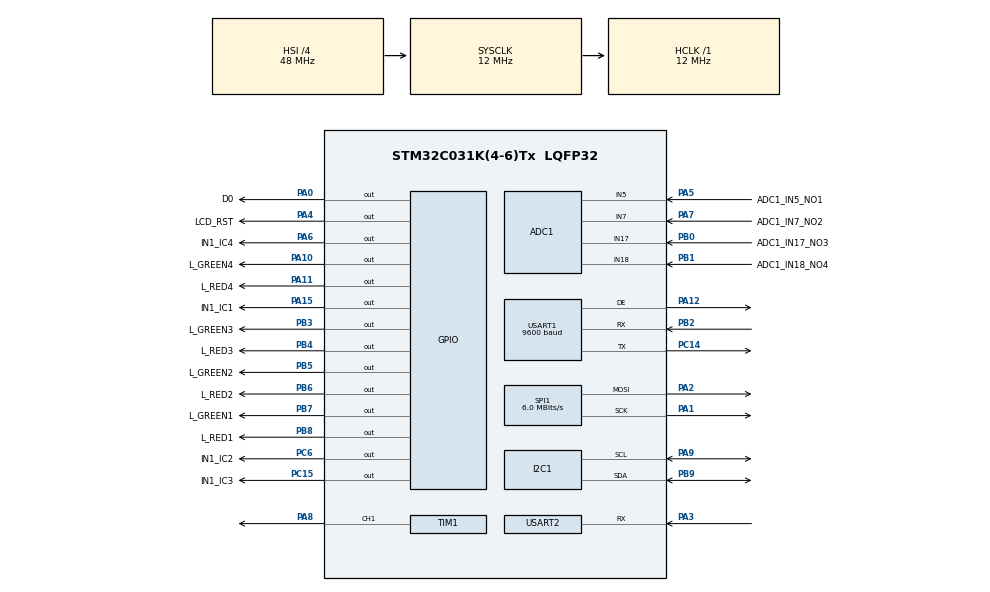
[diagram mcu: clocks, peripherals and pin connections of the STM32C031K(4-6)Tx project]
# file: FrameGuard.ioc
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ADC1.NbrOfConversionFlag=0
ADC1.Overrun=ADC_OVR_DATA_OVERWRITTEN
ADC1.SamplingTimeCommon1=ADC_SAMPLETIME_79CYCLES_5
ADC1.SelectedChannel=ADC_CHANNEL_5|ADC_CHANNEL_7|ADC_CHANNEL_17|ADC_CHANNEL_18
ADC1.Sequencer=NOT_FULLY_CONFIGURABLE
ADC1.master=1
I2C1.Timing=0x00402D41
Mcu.Family=STM32C0
Mcu.Name=STM32C031K(4-6)Tx
Mcu.Package=LQFP32
PA0.GPIO_Label=D0
PA0.Signal=GPIO_Output
PA1.Mode=TX_Only_Simplex_Unidirect_Master
PA1.Signal=SPI1_SCK
PA10.GPIO_Label=L_GREEN4
PA10.Signal=GPIO_Output
PA11\ [PA9].GPIO_Label=L_RED4
PA11\ [PA9].Signal=GPIO_Output
PA12\ [PA10].Mode=Hardware Flow Control (RS485)
PA12\ [PA10].Signal=USART1_DE
PA13.Mode=Serial_Wire
PA13.Signal=DEBUG_SWDIO
PA14-BOOT0.Mode=Serial_Wire
PA14-BOOT0.Signal=DEBUG_SWCLK
PA15.GPIO_Label=IN1_IC1
PA15.Signal=GPIO_Output
PA2.Mode=TX_Only_Simplex_Unidirect_Master
PA2.Signal=SPI1_MOSI
PA3.Mode=Receive_Only
PA3.Signal=USART2_RX
PA4.GPIO_Label=LCD_RST
PA4.Signal=GPIO_Output
PA5.GPIO_Label=ADC1_IN5_NO1
PA5.Mode=IN5
PA5.Signal=ADC1_IN5
PA6.GPIO_Label=IN1_IC4
PA6.Signal=GPIO_Output
PA7.GPIO_Label=ADC1_IN7_NO2
PA7.Mode=IN7
PA7.Signal=ADC1_IN7
PA8.Signal=S_TIM1_CH1
PA9.GPIO_Pu=GPIO_PULLUP
PA9.Mode=I2C
PA9.Signal=I2C1_SCL
PB0.GPIO_Label=ADC1_IN17_NO3
PB0.Mode=IN17
PB0.Signal=ADC1_IN17
PB1.GPIO_Label=ADC1_IN18_NO4
PB1.Mode=IN18
PB1.Signal=ADC1_IN18
PB2.Mode=Asynchronous
PB2.Signal=USART1_RX
PB3.GPIO_Label=L_GREEN3
PB3.Signal=GPIO_Output
PB4.GPIO_Label=L_RED3
PB4.Signal=GPIO_Output
PB5.GPIO_Label=L_GREEN2
PB5.Signal=GPIO_Output
PB6.GPIO_Label=L_RED2
PB6.Signal=GPIO_Output
PB7.GPIO_Label=L_GREEN1
PB7.Signal=GPIO_Output
PB8.GPIO_Label=L_RED1
PB8.Signal=GPIO_Output
PB9.GPIO_Pu=GPIO_PULLUP
PB9.Mode=I2C
PB9.Signal=I2C1_SDA
PC14-OSCX_IN\ (PC14).Mode=Asynchronous
PC14-OSCX_IN\ (PC14).Signal=USART1_TX
PC15-OSCX_OUT\ (PC15).GPIO_Label=IN1_IC3
PC15-OSCX_OUT\ (PC15).Signal=GPIO_Output
PC6.GPIO_Label=IN1_IC2
PC6.Signal=GPIO_Output
ProjectManager.HeapSize=0x200
ProjectManager.StackSize=0x400
ProjectManager.TargetToolchain=Makefile
RCC.ADCFreq_Value=12000000
RCC.AHBFreq_Value=12000000
RCC.CortexFreq_Value=12000000
RCC.EXTERNAL_CLOCK_VALUE=12288000
RCC.HCLKFreq_Value=12000000
RCC.HSE_VALUE=8000000
RCC.HSI_VALUE=48000000
RCC.LSE_VALUE=32768
RCC.SYSCLKFreq_VALUE=12000000
SH.S_TIM1_CH1.0=TIM1_CH1,PWM Generation1 CH1
SPI1.CalculateBaudRate=6.0 MBits/s
SPI1.Direction=SPI_DIRECTION_2LINES
SPI1.Mode=SPI_MODE_MASTER
SPI1.VirtualType=VM_MASTER
TIM1.AutoReloadPreload=TIM_AUTORELOAD_PRELOAD_ENABLE
TIM1.Channel-PWM\ Generation1\ CH1=TIM_CHANNEL_1
TIM1.Period=499
TIM1.Prescaler=11
TIM1.Pulse-PWM\ Generation1\ CH1=250
TIM3.Prescaler=11
USART1.BaudRate=9600
USART1.VirtualMode-Asynchronous=VM_ASYNC
USART1.VirtualMode-Hardware\ Flow\ Control\ (RS485)=VM_ASYNC
USART2.BaudRate=115200
USART2.VirtualMode-Receive_Only=VM_ASYNC
VP_TIM1_VS_ClockSourceINT.Mode=Internal
VP_TIM3_VS_ClockSourceINT.Mode=Internal
VP_WWDG_VS_WWDG.Mode=WWDG_Activate
WWDG.Counter=127
WWDG.Prescaler=WWDG_PRESCALER_8
WWDG.Window=80
board=custom

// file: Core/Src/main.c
/* USER CODE BEGIN Header */
/**
  ******************************************************************************
  * @file           : main.c
  * @brief          : Main program body
  ******************************************************************************
  * @attention
  *
  * Copyright (c) 2026 STMicroelectronics.
  * All rights reserved.
  *
  * This software is licensed under terms that can be found in the LICENSE file
  * in the root directory of this software component.
  * If no LICENSE file comes with this software, it is provided AS-IS.
  *
  ******************************************************************************
  */
/* USER CODE END Header */
#include "main.h"

/* USER CODE BEGIN Includes */
#include <string.h>
#include <stdbool.h>
#include "ads1015.h"
#include "config_store.h"
#include "lcd_st7567.h"
#include "app_debug.h"
#include "wire_probe.h"
#include "modbus_rtu.h"
#include "mb_port_usart1.h"
/* USER CODE END Includes */

/* USER CODE BEGIN PD */
#define VAC_ZERO_V          0.05f     /* V_AC below this is treated as 0 — less decimal noise on the LCD */
#define PROBE_SETTLE_MS     3         /* wait for the switch to return to measure position before reading ADS */
#define LED_ENABLE          1         /* 1 = status LEDs on, 0 = off */
#define PRINT_INTERVAL_MS   1000UL    /* LCD + RTT log update period */
#define RS485_OFFLINE_MS    10000UL
#define CFG_MSG_MS          3000UL    /* how long a config-command result stays on the LCD ID row */
#define MB_REG_COUNT        18        /* map 1-based: addr 1..17, addr 0 reserved — docs/rs485-modbus-protocol.md */
#define LCD_PAGE_INTERVAL   5000UL
/* USER CODE END PD */

ADC_HandleTypeDef hadc1;

I2C_HandleTypeDef hi2c1;

SPI_HandleTypeDef hspi1;

TIM_HandleTypeDef htim1;
TIM_HandleTypeDef htim3;

UART_HandleTypeDef huart1;
UART_HandleTypeDef huart2;

WWDG_HandleTypeDef hwwdg;

/* USER CODE BEGIN PV */
static app_config_t g_cfg = {
  .device_id = 1001, .modbus_addr = 1, .ch_count = ADS_NUM_CHANNELS, .alert_mv = 5000,
  .wire_mvpp = PROBE_OPEN_MVPP_DEFAULT, .k_factor = { 1.0f, 1.0f, 1.0f, 1.0f },
};

/* ACTIVE alarm threshold (mV). Boots from g_cfg.alert_mv; FC06 overrides it
 * at runtime (RAM-only — the persistent value is managed by the master/UART2). Every threshold
 * comparison must go through is_leak() — never compare directly, to avoid mixing V and mV. */
static uint16_t g_alert_mv = 5000;
static uint16_t mb_heartbeat = 0;

static uint32_t last_rs485_poll  = 0;
static bool     lcd_page         = false;
static uint32_t last_page_switch = 0;

static float   vac_ch[ADS_NUM_CHANNELS] = { 0 };
static float   raw_ch[ADS_NUM_CHANNELS] = { 0 };   /* vrms_total — used for table calibration */
static float   vac_uncal[ADS_NUM_CHANNELS] = { 0 }; /* VAC before factor K — source for v=/kN= calibration */

/* Per-channel calibration factor; old configs (previous layout) stored 0 → treated as 1.0 */
static float kf(int i)
{
  float k = g_cfg.k_factor[i];
  return (k > 0.0f) ? k : 1.0f;
}
static probe_state_t wire_ch[ADS_NUM_CHANNELS];     /* confirmed wire-check result */
static uint16_t      wire_mvpp[ADS_NUM_CHANNELS];   /* latest wire-check amplitude, diagnostics */

/* Per-channel verdict for LED/LCD/RS485. Fixed numeric codes, used on the wire. */
typedef enum {
  CH_INIT = 0,   /* wire not yet confirmed after startup */
  CH_OK,         /* wire connected, no leakage */
  CH_LEAK,       /* leakage (LCD "NG") */
  CH_WIRE_NG,    /* sensing wire broken / open */
  CH_ERR,        /* ADS1015 not responding */
  CH_DISABLED,   /* channel beyond the configured count (qty=) — not measured, LED off, LCD blank */
} ch_status_t;

/* A machine group has 1..4 channels (qty= command): only P1..Pn are active */
static bool ch_enabled(int i) { return i < g_cfg.ch_count; }
static bool    wwdg_started = false;

#if LED_ENABLE
static GPIO_TypeDef *const LED_G_PORT[ADS_NUM_CHANNELS] =
  { L_GREEN4_GPIO_Port, L_GREEN3_GPIO_Port, L_GREEN2_GPIO_Port, L_GREEN1_GPIO_Port };
static const uint16_t LED_G_PIN[ADS_NUM_CHANNELS] =
  { L_GREEN4_Pin, L_GREEN3_Pin, L_GREEN2_Pin, L_GREEN1_Pin };
static GPIO_TypeDef *const LED_R_PORT[ADS_NUM_CHANNELS] =
  { L_RED4_GPIO_Port, L_RED3_GPIO_Port, L_RED2_GPIO_Port, L_RED1_GPIO_Port };
static const uint16_t LED_R_PIN[ADS_NUM_CHANNELS] =
  { L_RED4_Pin, L_RED3_Pin, L_RED2_Pin, L_RED1_Pin };
/* Desired LED state — written by the main loop, read by the SysTick ISR to update outputs */
static volatile bool g_green_on[ADS_NUM_CHANNELS] = { 0 };
static volatile bool g_red_on[ADS_NUM_CHANNELS]   = { 0 };
static volatile bool g_red_hb[ADS_NUM_CHANNELS]   = { 0 };   /* red heartbeat blink: wire broken */
#endif
/* USER CODE END PV */

void SystemClock_Config(void);
static void MX_GPIO_Init(void);
static void MX_I2C1_Init(void);
static void MX_SPI1_Init(void);
static void MX_USART1_UART_Init(void);
static void MX_USART2_UART_Init(void);
static void MX_WWDG_Init(void);
static void MX_ADC1_Init(void);
static void MX_TIM1_Init(void);
static void MX_TIM3_Init(void);
/* USER CODE BEGIN PFP */
static void poll_serial(void);
/* USER CODE END PFP */

/* USER CODE BEGIN 0 */
static char     cfg_msg[21];
static uint32_t cfg_msg_until = 0;
#define CFG_PAGE_MS 5000u
static uint32_t cfg_page_until = 0;

static void cfg_show(const char *s)
{
  strncpy(cfg_msg, s, sizeof(cfg_msg) - 1);
  cfg_msg[sizeof(cfg_msg) - 1] = '\0';
  cfg_msg_until = HAL_GetTick() + CFG_MSG_MS;
}

/* Window watchdog: may only be refreshed once the counter has dropped below Window
 * (~131 ms after the previous reload); refreshing earlier also resets the MCU.
 * Call it liberally everywhere — it ignores calls made before the window opens. */
void app_wwdg_kick(void)
{
  if (!wwdg_started) return;
  if ((hwwdg.Instance->CR & WWDG_CR_T) < hwwdg.Init.Window)
    HAL_WWDG_Refresh(&hwwdg);
}

/* The ONLY threshold comparison point — LEDs/LCD/Modbus STATUS all go through here */
static bool is_leak(int i)
{
  return vac_ch[i] >= 0 && vac_ch[i] * 1000.0f > (float)g_alert_mv;
}

/* Leakage ranks above a broken wire: a measured leakage voltage means the wire is connected. */
static ch_status_t ch_status(int i)
{
  if (!ch_enabled(i))                   return CH_DISABLED;
  if (vac_ch[i] < 0)                    return CH_ERR;
  if (is_leak(i))                       return CH_LEAK;
  if (wire_ch[i] == PROBE_OPEN)         return CH_WIRE_NG;
  if (wire_ch[i] == PROBE_UNKNOWN)      return CH_INIT;
  return CH_OK;
}

/* LEDs share a common anode, active LOW: pin RESET (pulled low) = on.
 * OK: green; leakage: red; wire broken: red heartbeat blink; ERR/INIT: both off. */
static void set_machine_led(int i, ch_status_t st)
{
#if LED_ENABLE
  g_green_on[i] = (st == CH_OK);
  g_red_on[i]   = (st == CH_LEAK);
  g_red_hb[i]   = (st == CH_WIRE_NG);
#else
  (void)i; (void)st;
#endif
}

/* Called from SysTick_Handler (1 kHz): updates the status LEDs.
 * Active-low LEDs (common anode, resistor-limited): RESET = on, SET = off.
 * Linux-style heartbeat for the red blink when the wire is broken. */
void app_led_pwm_tick(void)
{
#if LED_ENABLE
  static uint16_t hb = 0;
  if (++hb >= 1000) hb = 0;
  bool hb_on = (hb < 70) || (hb >= 170 && hb < 240);
  for (int i = 0; i < ADS_NUM_CHANNELS; i++) {
    bool red = g_red_on[i] || (g_red_hb[i] && hb_on);
    HAL_GPIO_WritePin(LED_G_PORT[i], LED_G_PIN[i], g_green_on[i] ? GPIO_PIN_RESET : GPIO_PIN_SET);
    HAL_GPIO_WritePin(LED_R_PORT[i], LED_R_PIN[i], red             ? GPIO_PIN_RESET : GPIO_PIN_SET);
  }
#endif
}

void app_rs485_poll_received(void) { last_rs485_poll = HAL_GetTick(); }

static bool    blink_state = false;
static uint32_t last_blink  = 0;

/* Layout (no header): 4 data rows + 1 ID row
 *  y=0  ───── outer border top
 *  y=1..12   M1 row (12px content)
 *  y=13 ───── divider
 *  y=14..25  M2 row
 *  y=26 ───── divider
 *  y=27..38  M3 row
 *  y=39 ───── divider
 *  y=40..51  M4 row
 *  y=52 ───── divider (above ID)
 *  y=53..62  ID row (10px, same as spec v2)
 *  y=63 ───── outer border bottom
 */
/* Append "<label><number>" to b at position n, return the new position */
static int fmt_label_u(char *b, int n, const char *label, uint32_t v)
{
  while (*label) b[n++] = *label++;
  char t[6];
  int  c = 0;
  do { t[c++] = (char)('0' + v % 10); v /= 10; } while (v);
  while (c) b[n++] = t[--c];
  b[n] = '\0';
  return n;
}

/* Settings page ("config" command): only the configured values, 5 rows */
static void lcd_show_settings(void)
{
  char b[17];
  int  n;
  lcd_draw_rect(0, 0, 128, 64, 1);

  n = fmt_label_u(b, 0, "ID:", g_cfg.device_id);
  n = fmt_label_u(b, n, " RS:", g_cfg.modbus_addr);
  lcd_draw_string(4, 3, b);

  n = fmt_label_u(b, 0, "THR:", g_cfg.alert_mv);
  n = fmt_label_u(b, n, " Qty:", g_cfg.ch_count);
  lcd_draw_string(4, 15, b);

  fmt_label_u(b, 0, "WIRE:", g_cfg.wire_mvpp);
  lcd_draw_string(4, 27, b);

  /* K×1000 — "K1:1000 K2:1000" matches how the kN= command displays it */
  n = fmt_label_u(b, 0, "K1:", (uint32_t)(kf(0) * 1000.0f + 0.5f));
  n = fmt_label_u(b, n, " K2:", (uint32_t)(kf(1) * 1000.0f + 0.5f));
  lcd_draw_string(4, 39, b);

  n = fmt_label_u(b, 0, "K3:", (uint32_t)(kf(2) * 1000.0f + 0.5f));
  n = fmt_label_u(b, n, " K4:", (uint32_t)(kf(3) * 1000.0f + 0.5f));
  lcd_draw_string(4, 51, b);
}

static void lcd_show_channels(bool any_alert)
{
  char buf[16];
  int i;
  lcd_clear();

  uint32_t now = HAL_GetTick();
  if (now - last_blink >= 500) {
    last_blink = now;
    blink_state = !blink_state;
  }

  if ((int32_t)(cfg_page_until - now) > 0) {
    lcd_show_settings();
    lcd_update();
    return;
  }

  lcd_draw_rect(0, 0, 128, 64, 1);

  lcd_draw_hline(0, 13, 128, 1);
  lcd_draw_hline(0, 26, 128, 1);
  lcd_draw_hline(0, 39, 128, 1);
  lcd_draw_hline(0, 52, 128, 1);

  lcd_draw_vline(28, 0, 53, 1);
  lcd_draw_vline(88, 0, 53, 1);

  static const int row_y[]  = {1, 14, 27, 40};
  static const int row_ye[] = {12, 25, 38, 51};

  for (i = 0; i < ADS_NUM_CHANNELS; i++) {
    int cy = row_y[i];
    int ty = cy + 2;

    if (!ch_enabled(i)) continue;        /* disabled channel: leave the row blank */

    lcd_draw_char(7, ty, 'P');
    lcd_draw_char(15, ty, (char)('1' + i));

    ch_status_t st = ch_status(i);
    if (vac_ch[i] < 0) {
      lcd_draw_string(32, ty, "----");
      lcd_draw_string(98, ty, "ERR");
    } else if (st == CH_WIRE_NG) {
      /* Wire broken: do not print 0.00V (easily mistaken for "no leakage"); both cells show
       * evenly spaced blinking 2x2 dots: voltage cell 29..87 5 dots every 12 px, status cell 89..126 4 dots every 9 px */
      if (blink_state) {
        for (int dx = 34; dx <= 82; dx += 12) lcd_fill_rect(dx, cy + 5, 2, 2, 1);
        for (int dx = 94; dx <= 121; dx += 9) lcd_fill_rect(dx, cy + 5, 2, 2, 1);
      }
    } else {
      int32_t s = (int32_t)(vac_ch[i] * 100.0f + 0.5f);
      if (s > 9999) s = 9999;
      int32_t ip = s / 100, fp = s % 100;
      int n = 0;
      if (ip >= 10) buf[n++] = (char)('0' + ip / 10);
      buf[n++] = (char)('0' + ip % 10);
      buf[n++] = '.';
      buf[n++] = (char)('0' + fp / 10);
      buf[n++] = (char)('0' + fp % 10);
      buf[n] = '\0';
      lcd_draw_string(32, ty, buf);
      lcd_draw_char(32 + n * 8, ty, 'V');

      const char *txt = st == CH_LEAK ? "NG" : st == CH_INIT ? "..." : "OK";
      if (st == CH_LEAK && blink_state) {
        lcd_fill_rect(89, cy, 38, row_ye[i] - cy + 1, 1);
        lcd_draw_string_inv(98, ty, txt);
      } else {
        lcd_draw_string(98, ty, txt);
      }
    }
  }

  /* ID row — 2-page alternating display */
  {
    if (now - last_page_switch >= LCD_PAGE_INTERVAL) {
      lcd_page = !lcd_page;
      last_page_switch = now;
    }

    if ((int32_t)(cfg_msg_until - now) > 0) {
      /* Config-command feedback, inverted to stand out, centred */
      int n = (int)strlen(cfg_msg);
      lcd_fill_rect(1, 53, 126, 10, 1);
      if (n <= 16) {
        lcd_draw_string_inv(64 - n * 4, 55, cfg_msg);
      } else {
        /* Long strings (5-command usage = 20 chars): 5 px glyphs drawn at 6 px pitch → 120 px */
        int x = 64 - n * 3;
        for (int k = 0; k < n; k++, x += 6) lcd_draw_char_inv(x, 55, cfg_msg[k]);
      }
    } else
    if (!lcd_page) {
      /* Page 1: ID:1001-RS:001 (14 chars, 112px, x=8) */
      uint16_t id = g_cfg.device_id;
      buf[0]  = 'I'; buf[1] = 'D';
      buf[2]  = blink_state ? ':' : ' ';
      buf[3]  = (char)('0' + (id / 1000) % 10);
      buf[4]  = (char)('0' + (id / 100) % 10);
      buf[5]  = (char)('0' + (id / 10) % 10);
      buf[6]  = (char)('0' + id % 10);
      buf[7]  = '-';
      buf[8]  = 'R'; buf[9] = 'S'; buf[10] = ':';
      buf[11] = (char)('0' + (g_cfg.modbus_addr / 100) % 10);
      buf[12] = (char)('0' + (g_cfg.modbus_addr / 10) % 10);
      buf[13] = (char)('0' + g_cfg.modbus_addr % 10);
      buf[14] = '\0';
      lcd_draw_string(8, 55, buf);
    } else {
      /* Page 2: LINK OK or OFFLINE M:SS */
      uint32_t elapsed = now - last_rs485_poll;
      bool offline = (elapsed > RS485_OFFLINE_MS);

      if (offline) {
        uint32_t secs = elapsed / 1000;
        uint32_t mm = secs / 60; if (mm > 9) mm = 9;
        uint32_t ss = secs % 60;
        buf[0] = 'O'; buf[1] = 'F'; buf[2] = 'F';
        buf[3] = 'L'; buf[4] = 'I'; buf[5] = 'N'; buf[6] = 'E'; buf[7] = ' ';
        buf[8] = (char)('0' + mm);
        buf[9] = ':';
        buf[10] = (char)('0' + ss / 10);
        buf[11] = (char)('0' + ss % 10);
        buf[12] = '\0';
        /* 12 chars = 96px → x=16 */
        lcd_fill_rect(1, 53, 126, 10, 1);
        lcd_draw_string_inv(16, 55, buf);
      } else {
        /* 7 chars = 56px → x=36 */
        lcd_draw_string(36, 55, "LINK OK");
      }
    }
  }

  (void)any_alert;
  lcd_update();
}

/* ---- Modbus RTU slave: 1-based register map, addr = channel number for clarity
 * (docs/rs485-modbus-protocol.md). Each channel's state is read from CH_STATUS —
 * there is no combined bitmap (it duplicated CH_STATUS). ----
 *  0    reserved (reads 0)
 *  1–4  V_AC channels P1–P4 (unit 0.01 V — matches LCD X.XX; I2C error → 0xFFFF, valid values clamp at 0xFFFE)
 *  5    DEVICE_ID                    6  ALERT_THRESHOLD mV (FC06 ghi, RAM-only)
 *  7    FW_HEARTBEAT                 8–11  CH_STATUS channels P1–P4 (ch_status_t)
 *  12–15 WIRE_MVPP channels P1–P4 (wire-check amplitude)
 *  16   WIRE_THRESHOLD (wire-break threshold shared by 4 channels, read-only)
 *  17   CH_COUNT 1..4 (channels in the group, writable via FC06 — like qty=, saved to flash;
 *       disabled channel: VAC=0, CH_STATUS=5, WIRE_MVPP=0) */
static uint16_t mb_app_reg_read(uint16_t addr)
{
  switch (addr) {
  case 1: case 2: case 3: case 4: {
    int i = addr - 1;
    if (!ch_enabled(i)) return 0;                  /* disabled channel (qty=) — CH_STATUS = 5 */
    if (vac_ch[i] < 0) return 0xFFFF;              /* I2C error — before any conversion */
    uint32_t cv = (uint32_t)(vac_ch[i] * 100.0f + 0.5f);   /* 0.01 V/LSB */
    return (cv > 0xFFFE) ? 0xFFFE : (uint16_t)cv;
  }
  case 5: return g_cfg.device_id;
  case 6: return g_alert_mv;
  case 7: return mb_heartbeat;
  case 8: case 9: case 10: case 11:
    return (uint16_t)ch_status(addr - 8);
  case 12: case 13: case 14: case 15:
    return wire_mvpp[addr - 12];
  case 16: return g_cfg.wire_mvpp;                 /* wire-break threshold (read-only; set with wire=) */
  case 17: return g_cfg.ch_count;                  /* channels in the group (qty= command) */
  default: return 0;                               /* addr 0 reserved; the core rejects addr ≥ MB_REG_COUNT */
  }
}

static void cfg_save_show(const char *label, uint32_t v)
{
  app_wwdg_kick();
  bool saved = config_save(&g_cfg);
  app_wwdg_kick();
  char m[20];
  int  n = 0;
  while (label[n]) { m[n] = label[n]; n++; }
  char tmp[6];
  int  t = 0;
  do { tmp[t++] = (char)('0' + v % 10); v /= 10; } while (v);
  while (t) m[n++] = tmp[--t];
  m[n] = '\0';
  strcat(m, saved ? " SAVED" : " FLASH!");
  cfg_show(m);
}

/* FC06 can write 2 registers:
 *  - 6  ALERT_THRESHOLD: RAM-only — the persistent value lives in flash (thr= command);
 *       a master that wants its own threshold re-writes it on every poll
 *  - 17 CH_COUNT: like the qty= UART2 command — saved to flash, applied on the next scan */
static mb_wr_result_t mb_app_reg_write(uint16_t addr, uint16_t val)
{
  switch (addr) {
  case 6:
    if (val < 100 || val > 60000) return MB_WR_BAD_VALUE;
    g_alert_mv = val;
    return MB_WR_OK;
  case 17:
    if (val < 1 || val > ADS_NUM_CHANNELS) return MB_WR_BAD_VALUE;
    g_cfg.ch_count = (uint8_t)val;       /* next scan: channels > val are skipped, data cleared */
    cfg_save_show("QTY:", val);          /* write flash + LCD feedback, same path as qty= */
    return MB_WR_OK;
  default:
    return MB_WR_BAD_ADDR;
  }
}

static const mb_port_t MB_PORT = {
  .get_tick_ms = HAL_GetTick,
  .tx_start    = mb_port_usart1_tx_start,
  .tx_busy     = mb_port_usart1_tx_busy,
  .reg_read    = mb_app_reg_read,
  .reg_write   = mb_app_reg_write,
  .on_reply_ok = app_rs485_poll_received,
};

void app_comm_poll(void) {
  mb_poll();
}

/* ---- Config commands over USART2 RX (no TX — result shown on the LCD for 3 s):
 * id=<1..9999> | addr=<1..247> | thr=<100..60000> (mV) | wire=<100..3000> (mVpp)
 * | qty=<1..4> (channel count) | v=<500..24000> (reference mV being applied → calibrate K on all 4 channels)
 * | k1=..k4=<500..24000> (calibrate K on one channel). Saved to flash immediately.
 * | config (no argument): show the settings page for 5 s. ---- */

/* Case-insensitive prefix match; returns a pointer past the prefix or NULL */
static const char *cmd_prefix(const char *p, const char *kw)
{
  while (*kw) {
    char c = *p, k = *kw;
    if (c >= 'A' && c <= 'Z') c = (char)(c - 'A' + 'a');
    if (c != k) return NULL;
    p++; kw++;
  }
  return p;
}

/* Parse a decimal number; -1 if empty or containing invalid characters */
static int32_t cmd_num(const char *d)
{
  if (*d < '0' || *d > '9') return -1;
  int32_t v = 0;
  for (; *d >= '0' && *d <= '9'; d++) {
    v = v * 10 + (*d - '0');
    if (v > 100000) return -1;
  }
  return (*d == '\0') ? v : -1;
}

/* Compute K for channel i from the reference voltage being applied (V). Rejects disabled channels,
 * readings that are too small (noise divided by ~0), or K outside 0.5..2.0 (wrong reference applied). */
static bool cal_apply(int i, float target_v)
{
  if (!ch_enabled(i) || vac_uncal[i] < 0.2f) return false;
  float k = target_v / vac_uncal[i];
  if (k < 0.5f || k > 2.0f) return false;
  g_cfg.k_factor[i] = k;
  return true;
}

static void handle_command(char *p)
{
  while (*p == ' ' || *p == '\t') p++;
  const char *d;

  if ((d = cmd_prefix(p, "id=")) != NULL) {
    int32_t v = cmd_num(d);
    if (v >= 1 && v <= 9999) {
      g_cfg.device_id = (uint16_t)v;
      cfg_save_show("ID:", (uint32_t)v);
    } else {
      cfg_show("ID 1..9999");
    }
    return;
  }

  if ((d = cmd_prefix(p, "addr=")) != NULL) {
    int32_t v = cmd_num(d);
    if (v >= 1 && v <= 247) {
      g_cfg.modbus_addr = (uint8_t)v;
      mb_set_addr((uint8_t)v);
      cfg_save_show("ADDR:", (uint32_t)v);
    } else {
      cfg_show("ADDR 1..247");
    }
    return;
  }

  if ((d = cmd_prefix(p, "thr=")) != NULL) {
    int32_t v = cmd_num(d);
    if (v >= 100 && v <= 60000) {
      g_cfg.alert_mv = (uint16_t)v;
      g_alert_mv     = (uint16_t)v;    /* RAM + flash together — thr= is the persistent value */
      cfg_save_show("THR:", (uint32_t)v);
    } else {
      cfg_show("THR 100..60000");
    }
    return;
  }

  if ((d = cmd_prefix(p, "wire=")) != NULL) {
    int32_t v = cmd_num(d);
    if (v >= 100 && v <= 3000) {
      g_cfg.wire_mvpp = (uint16_t)v;
      probe_set_open_mvpp((uint16_t)v);  /* effective from the next wire-check window */
      cfg_save_show("WIRE:", (uint32_t)v);
    } else {
      cfg_show("WIRE 100..3000");
    }
    return;
  }

  if ((d = cmd_prefix(p, "qty=")) != NULL) {
    int32_t v = cmd_num(d);
    if (v >= 1 && v <= ADS_NUM_CHANNELS) {
      g_cfg.ch_count = (uint8_t)v;       /* next scan: channels > v are skipped, data cleared */
      cfg_save_show("QTY:", (uint32_t)v);
    } else {
      cfg_show("QTY 1..4");
    }
    return;
  }

  if ((d = cmd_prefix(p, "v=")) != NULL) {
    int32_t v = cmd_num(d);
    if (v >= 500 && v <= 24000) {
      int n = 0;
      for (int i = 0; i < ADS_NUM_CHANNELS; i++)
        if (cal_apply(i, (float)v / 1000.0f)) n++;
      if (n) cfg_save_show("CAL:", (uint32_t)n);   /* "CAL:4 SAVED" = number of channels calibrated */
      else   cfg_show("CAL FAIL");
    } else {
      cfg_show("V 500..24000");
    }
    return;
  }

  if ((p[0] == 'k' || p[0] == 'K') && p[1] >= '1' && p[1] <= '4' && p[2] == '=') {
    int32_t v = cmd_num(p + 3);
    int ch = p[1] - '1';
    if (v >= 500 && v <= 24000) {
      if (cal_apply(ch, (float)v / 1000.0f)) {
        char lbl[4] = { 'K', p[1], ':', '\0' };
        /* show K×1000: "K1:1023 SAVED" reads as 1.023 */
        cfg_save_show(lbl, (uint32_t)(g_cfg.k_factor[ch] * 1000.0f + 0.5f));
      } else {
        char msg[12] = "CAL P1 FAIL";
        msg[5] = p[1];
        cfg_show(msg);
      }
    } else {
      cfg_show("K 500..24000");
    }
    return;
  }

  if ((d = cmd_prefix(p, "config")) != NULL && *d == '\0') {
    cfg_page_until = HAL_GetTick() + CFG_PAGE_MS;
    return;
  }

  cfg_show("id addr qty v kN");
}

/* USART2 has no FIFO (1-byte RDR) and the measurement loop has stretches that do not poll
 * for tens of ms → a command line sent in one burst (paste/script, 9 bytes ≈ 0.8 ms) would overrun.
 * Receive via RXNE interrupt into a small ring; poll_serial() only drains the ring and parses. */
#define U2_RING_SIZE 32u                     /* power of 2 */
static volatile uint8_t u2_ring[U2_RING_SIZE];
static volatile uint8_t u2_head, u2_tail;    /* head: written by ISR; tail: read by poll_serial */

void app_usart2_isr(void)
{
  uint32_t isr = USART2->ISR;
  USART2->ICR = isr & (USART_ICR_PECF | USART_ICR_FECF | USART_ICR_NECF | USART_ICR_ORECF);
  if (isr & USART_ISR_RXNE_RXFNE) {
    uint8_t c = (uint8_t)USART2->RDR;
    uint8_t next = (uint8_t)((u2_head + 1u) & (U2_RING_SIZE - 1u));
    if (next != u2_tail && !(isr & (USART_ISR_PE | USART_ISR_FE | USART_ISR_NE))) {
      u2_ring[u2_head] = c;
      u2_head = next;
    }
  }
}

static void poll_serial(void)
{
  static char    sbuf[24];
  static uint8_t len = 0;

  while (u2_tail != u2_head) {
    char c = (char)u2_ring[u2_tail];
    u2_tail = (uint8_t)((u2_tail + 1u) & (U2_RING_SIZE - 1u));
    if (c == '\n' || c == '\r') {
      if (len == 0) continue;
      sbuf[len] = '\0';
      handle_command(sbuf);
      len = 0;
    } else if (len < sizeof(sbuf) - 1) {
      sbuf[len++] = c;
    } else {
      len = 0;
    }
  }
}

/* USER CODE END 0 */

int main(void)
{

  /* MCU Configuration--------------------------------------------------------*/

  /* Reset of all peripherals, Initializes the Flash interface and the Systick. */
  HAL_Init();

  /* Configure the system clock */
  SystemClock_Config();

  /* Initialize all configured peripherals */
  MX_GPIO_Init();
  MX_I2C1_Init();
  MX_SPI1_Init();
  MX_USART1_UART_Init();
  MX_USART2_UART_Init();
  MX_WWDG_Init();
  MX_ADC1_Init();
  MX_TIM1_Init();
  MX_TIM3_Init();
  /* USER CODE BEGIN 2 */
  APP_LOG_INIT();
#if APP_DEBUG
  /* J-Link halts the core (flashing, RTT attach) but the WWDG keeps counting → spurious WWDG reset.
   * Freeze the WWDG while the core is halted; not needed in production. */
  __HAL_RCC_DBGMCU_CLK_ENABLE();
  __HAL_DBGMCU_FREEZE_WWDG();
#endif
  wwdg_started = true;

  /* Load config from flash (if present); V conversion uses the static calibration table in ads1015.c */
  bool cfg_loaded = config_load(&g_cfg);
  g_alert_mv = g_cfg.alert_mv;
  probe_set_open_mvpp(g_cfg.wire_mvpp);

  /* Modbus RTU slave on USART1: core + bare-register port.
   * From here on, no HAL UART TX API may be used on huart1 (one UART, one owner). */
  mb_init(&MB_PORT, g_cfg.modbus_addr, MB_REG_COUNT);
  mb_port_usart1_init();

  APP_LOG("[boot] id=%u addr=%u thr=%umV cfg=%s rst=%s%s%s%s\r\n",
          g_cfg.device_id, g_cfg.modbus_addr, g_alert_mv, cfg_loaded ? "flash" : "defaults",
          __HAL_RCC_GET_FLAG(RCC_FLAG_PWRRST)  ? "POR "  : "",
          __HAL_RCC_GET_FLAG(RCC_FLAG_PINRST)  ? "PIN "  : "",
          __HAL_RCC_GET_FLAG(RCC_FLAG_SFTRST)  ? "SFT "  : "",
          __HAL_RCC_GET_FLAG(RCC_FLAG_WWDGRST) ? "WWDG " : "");
  __HAL_RCC_CLEAR_RESET_FLAGS();

  lcd_init();
  app_wwdg_kick();
  APP_LOG("[boot] lcd_init ok\r\n");
  probe_init();
  app_wwdg_kick();
  /* USER CODE END 2 */

  /* Infinite loop */
  while (1)
  {

    /* USER CODE BEGIN 3 */
    mb_poll();
    static uint32_t last_print = 0;
    bool any_alert = false;
    ads_meas_t m;

    for (int i = 0; i < ADS_NUM_CHANNELS; i++) {
      poll_serial();
      mb_poll();
      app_wwdg_kick();

      if (!ch_enabled(i)) {
        /* Disabled channel: clear old data (qty= changed at runtime), LED off, no measurement */
        vac_ch[i] = 0.0f; raw_ch[i] = 0.0f; vac_uncal[i] = 0.0f;
        wire_ch[i] = PROBE_UNKNOWN; wire_mvpp[i] = 0;
        set_machine_led(i, CH_DISABLED);
        continue;
      }

      /* Check the wire before every measurement, regardless of the previous result. */
      probe_result_t pr;
      if (probe_measure(i, &pr)) {
        wire_ch[i]   = probe_update(i, &pr);
        wire_mvpp[i] = pr.mvpp;
      } else {
        APP_LOG("[probe] P%d ADC error\r\n", i + 1);
      }
      HAL_Delay(PROBE_SETTLE_MS);
      app_wwdg_kick();

      bool ok = ads_measure_channel(&hi2c1, i, &m);
      vac_uncal[i] = ok ? m.vac : 0.0f;
      vac_ch[i] = ok ? m.vac * kf(i) : -1.0f;   /* -1 = IC not responding */
      raw_ch[i] = ok ? m.vrms_total : 0.0f;
      if (ok && vac_ch[i] < VAC_ZERO_V) vac_ch[i] = 0.0f;
      if (!ok) APP_LOG("[i2c] P%d not responding\r\n", i + 1);

      ch_status_t st = ch_status(i);
      if (st == CH_LEAK || st == CH_WIRE_NG) any_alert = true;
      set_machine_led(i, st);
      app_wwdg_kick();
    }
    mb_heartbeat++;

    /* PA0 (label D0) is the LCD A0 pin — no longer used as a global alert output */

    /* Print results + update the LCD every 1 s (a 4-channel scan takes ~820 ms) */
    uint32_t now = HAL_GetTick();
    if (now - last_print >= PRINT_INTERVAL_MS) {
      last_print = now;
      lcd_show_channels(any_alert);
      app_wwdg_kick();
      mb_poll();
      /* RTT has no %f: print mV (vac*1000), -1 = channel error */
      APP_LOG("[meas] P1=%d P2=%d P3=%d P4=%d mV | %s, %s, %s, %s (%u %u %u %u mVpp)%s\r\n",
          (int)(vac_ch[0] * 1000.0f), (int)(vac_ch[1] * 1000.0f),
          (int)(vac_ch[2] * 1000.0f), (int)(vac_ch[3] * 1000.0f),
          probe_state_str(wire_ch[0]), probe_state_str(wire_ch[1]),
          probe_state_str(wire_ch[2]), probe_state_str(wire_ch[3]),
          (unsigned)wire_mvpp[0], (unsigned)wire_mvpp[1],
          (unsigned)wire_mvpp[2], (unsigned)wire_mvpp[3],
          any_alert ? " ALERT" : "");
    }
    app_wwdg_kick();
  }
  /* USER CODE END 3 */
}

void SystemClock_Config(void)
{
  RCC_OscInitTypeDef RCC_OscInitStruct = {0};
  RCC_ClkInitTypeDef RCC_ClkInitStruct = {0};

  __HAL_FLASH_SET_LATENCY(FLASH_LATENCY_0);

  /** Initializes the RCC Oscillators according to the specified parameters
  * in the RCC_OscInitTypeDef structure.
  */
  RCC_OscInitStruct.OscillatorType = RCC_OSCILLATORTYPE_HSI;
  RCC_OscInitStruct.HSIState = RCC_HSI_ON;
  RCC_OscInitStruct.HSIDiv = RCC_HSI_DIV4;
  RCC_OscInitStruct.HSICalibrationValue = RCC_HSICALIBRATION_DEFAULT;
  if (HAL_RCC_OscConfig(&RCC_OscInitStruct) != HAL_OK)
  {
    Error_Handler();
  }

  /** Initializes the CPU, AHB and APB buses clocks
  */
  RCC_ClkInitStruct.ClockType = RCC_CLOCKTYPE_HCLK|RCC_CLOCKTYPE_SYSCLK
                              |RCC_CLOCKTYPE_PCLK1;
  RCC_ClkInitStruct.SYSCLKSource = RCC_SYSCLKSOURCE_HSI;
  RCC_ClkInitStruct.SYSCLKDivider = RCC_SYSCLK_DIV1;
  RCC_ClkInitStruct.AHBCLKDivider = RCC_HCLK_DIV1;
  RCC_ClkInitStruct.APB1CLKDivider = RCC_APB1_DIV1;

  if (HAL_RCC_ClockConfig(&RCC_ClkInitStruct, FLASH_LATENCY_0) != HAL_OK)
  {
    Error_Handler();
  }
}

static void MX_ADC1_Init(void)
{

  ADC_ChannelConfTypeDef sConfig = {0};

  /** Configure the global features of the ADC (Clock, Resolution, Data Alignment and number of conversion)
  */
  hadc1.Instance = ADC1;
  hadc1.Init.ClockPrescaler = ADC_CLOCK_SYNC_PCLK_DIV1;
  hadc1.Init.Resolution = ADC_RESOLUTION_12B;
  hadc1.Init.DataAlign = ADC_DATAALIGN_RIGHT;
  hadc1.Init.ScanConvMode = ADC_SCAN_SEQ_FIXED;
  hadc1.Init.EOCSelection = ADC_EOC_SINGLE_CONV;
  hadc1.Init.LowPowerAutoWait = DISABLE;
  hadc1.Init.LowPowerAutoPowerOff = DISABLE;
  hadc1.Init.ContinuousConvMode = DISABLE;
  hadc1.Init.NbrOfConversion = 1;
  hadc1.Init.DiscontinuousConvMode = DISABLE;
  hadc1.Init.ExternalTrigConv = ADC_SOFTWARE_START;
  hadc1.Init.ExternalTrigConvEdge = ADC_EXTERNALTRIGCONVEDGE_NONE;
  hadc1.Init.DMAContinuousRequests = DISABLE;
  hadc1.Init.Overrun = ADC_OVR_DATA_OVERWRITTEN;
  hadc1.Init.SamplingTimeCommon1 = ADC_SAMPLETIME_79CYCLES_5;
  hadc1.Init.OversamplingMode = DISABLE;
  hadc1.Init.TriggerFrequencyMode = ADC_TRIGGER_FREQ_HIGH;
  if (HAL_ADC_Init(&hadc1) != HAL_OK)
  {
    Error_Handler();
  }

  /** Configure Regular Channel
  */
  sConfig.Channel = ADC_CHANNEL_5;
  sConfig.Rank = ADC_RANK_CHANNEL_NUMBER;
  if (HAL_ADC_ConfigChannel(&hadc1, &sConfig) != HAL_OK)
  {
    Error_Handler();
  }

  /** Configure Regular Channel
  */
  sConfig.Channel = ADC_CHANNEL_7;
  if (HAL_ADC_ConfigChannel(&hadc1, &sConfig) != HAL_OK)
  {
    Error_Handler();
  }

  /** Configure Regular Channel
  */
  sConfig.Channel = ADC_CHANNEL_17;
  if (HAL_ADC_ConfigChannel(&hadc1, &sConfig) != HAL_OK)
  {
    Error_Handler();
  }

  /** Configure Regular Channel
  */
  sConfig.Channel = ADC_CHANNEL_18;
  if (HAL_ADC_ConfigChannel(&hadc1, &sConfig) != HAL_OK)
  {
    Error_Handler();
  }

}

static void MX_I2C1_Init(void)
{

  hi2c1.Instance = I2C1;
  hi2c1.Init.Timing = 0x00402D41;
  hi2c1.Init.OwnAddress1 = 0;
  hi2c1.Init.AddressingMode = I2C_ADDRESSINGMODE_7BIT;
  hi2c1.Init.DualAddressMode = I2C_DUALADDRESS_DISABLE;
  hi2c1.Init.OwnAddress2 = 0;
  hi2c1.Init.OwnAddress2Masks = I2C_OA2_NOMASK;
  hi2c1.Init.GeneralCallMode = I2C_GENERALCALL_DISABLE;
  hi2c1.Init.NoStretchMode = I2C_NOSTRETCH_DISABLE;
  if (HAL_I2C_Init(&hi2c1) != HAL_OK)
  {
    Error_Handler();
  }

  /** Configure Analogue filter
  */
  if (HAL_I2CEx_ConfigAnalogFilter(&hi2c1, I2C_ANALOGFILTER_ENABLE) != HAL_OK)
  {
    Error_Handler();
  }

  /** Configure Digital filter
  */
  if (HAL_I2CEx_ConfigDigitalFilter(&hi2c1, 0) != HAL_OK)
  {
    Error_Handler();
  }

}

static void MX_SPI1_Init(void)
{

  /* SPI1 parameter configuration*/
  hspi1.Instance = SPI1;
  hspi1.Init.Mode = SPI_MODE_MASTER;
  hspi1.Init.Direction = SPI_DIRECTION_2LINES;
  hspi1.Init.DataSize = SPI_DATASIZE_8BIT;
  hspi1.Init.CLKPolarity = SPI_POLARITY_LOW;
  hspi1.Init.CLKPhase = SPI_PHASE_1EDGE;
  hspi1.Init.NSS = SPI_NSS_SOFT;
  hspi1.Init.BaudRatePrescaler = SPI_BAUDRATEPRESCALER_2;
  hspi1.Init.FirstBit = SPI_FIRSTBIT_MSB;
  hspi1.Init.TIMode = SPI_TIMODE_DISABLE;
  hspi1.Init.CRCCalculation = SPI_CRCCALCULATION_DISABLE;
  hspi1.Init.CRCPolynomial = 7;
  hspi1.Init.CRCLength = SPI_CRC_LENGTH_DATASIZE;
  hspi1.Init.NSSPMode = SPI_NSS_PULSE_ENABLE;
  if (HAL_SPI_Init(&hspi1) != HAL_OK)
  {
    Error_Handler();
  }

}

static void MX_TIM1_Init(void)
{

  TIM_ClockConfigTypeDef sClockSourceConfig = {0};
  TIM_MasterConfigTypeDef sMasterConfig = {0};
  TIM_OC_InitTypeDef sConfigOC = {0};
  TIM_BreakDeadTimeConfigTypeDef sBreakDeadTimeConfig = {0};

  htim1.Instance = TIM1;
  htim1.Init.Prescaler = 11;
  htim1.Init.CounterMode = TIM_COUNTERMODE_UP;
  htim1.Init.Period = 499;
  htim1.Init.ClockDivision = TIM_CLOCKDIVISION_DIV1;
  htim1.Init.RepetitionCounter = 0;
  htim1.Init.AutoReloadPreload = TIM_AUTORELOAD_PRELOAD_ENABLE;
  if (HAL_TIM_Base_Init(&htim1) != HAL_OK)
  {
    Error_Handler();
  }
  sClockSourceConfig.ClockSource = TIM_CLOCKSOURCE_INTERNAL;
  if (HAL_TIM_ConfigClockSource(&htim1, &sClockSourceConfig) != HAL_OK)
  {
    Error_Handler();
  }
  if (HAL_TIM_PWM_Init(&htim1) != HAL_OK)
  {
    Error_Handler();
  }
  sMasterConfig.MasterOutputTrigger = TIM_TRGO_RESET;
  sMasterConfig.MasterOutputTrigger2 = TIM_TRGO2_RESET;
  sMasterConfig.MasterSlaveMode = TIM_MASTERSLAVEMODE_DISABLE;
  if (HAL_TIMEx_MasterConfigSynchronization(&htim1, &sMasterConfig) != HAL_OK)
  {
    Error_Handler();
  }
  sConfigOC.OCMode = TIM_OCMODE_PWM1;
  sConfigOC.Pulse = 250;
  sConfigOC.OCPolarity = TIM_OCPOLARITY_HIGH;
  sConfigOC.OCNPolarity = TIM_OCNPOLARITY_HIGH;
  sConfigOC.OCFastMode = TIM_OCFAST_DISABLE;
  sConfigOC.OCIdleState = TIM_OCIDLESTATE_RESET;
  sConfigOC.OCNIdleState = TIM_OCNIDLESTATE_RESET;
  if (HAL_TIM_PWM_ConfigChannel(&htim1, &sConfigOC, TIM_CHANNEL_1) != HAL_OK)
  {
    Error_Handler();
  }
  sBreakDeadTimeConfig.OffStateRunMode = TIM_OSSR_DISABLE;
  sBreakDeadTimeConfig.OffStateIDLEMode = TIM_OSSI_DISABLE;
  sBreakDeadTimeConfig.LockLevel = TIM_LOCKLEVEL_OFF;
  sBreakDeadTimeConfig.DeadTime = 0;
  sBreakDeadTimeConfig.BreakState = TIM_BREAK_DISABLE;
  sBreakDeadTimeConfig.BreakPolarity = TIM_BREAKPOLARITY_HIGH;
  sBreakDeadTimeConfig.BreakFilter = 0;
  sBreakDeadTimeConfig.BreakAFMode = TIM_BREAK_AFMODE_INPUT;
  sBreakDeadTimeConfig.Break2State = TIM_BREAK2_DISABLE;
  sBreakDeadTimeConfig.Break2Polarity = TIM_BREAK2POLARITY_HIGH;
  sBreakDeadTimeConfig.Break2Filter = 0;
  sBreakDeadTimeConfig.Break2AFMode = TIM_BREAK_AFMODE_INPUT;
  sBreakDeadTimeConfig.AutomaticOutput = TIM_AUTOMATICOUTPUT_DISABLE;
  if (HAL_TIMEx_ConfigBreakDeadTime(&htim1, &sBreakDeadTimeConfig) != HAL_OK)
  {
    Error_Handler();
  }
  HAL_TIM_MspPostInit(&htim1);

}

static void MX_TIM3_Init(void)
{

  TIM_ClockConfigTypeDef sClockSourceConfig = {0};
  TIM_MasterConfigTypeDef sMasterConfig = {0};

  htim3.Instance = TIM3;
  htim3.Init.Prescaler = 11;
  htim3.Init.CounterMode = TIM_COUNTERMODE_UP;
  htim3.Init.Period = 65535;
  htim3.Init.ClockDivision = TIM_CLOCKDIVISION_DIV1;
  htim3.Init.AutoReloadPreload = TIM_AUTORELOAD_PRELOAD_DISABLE;
  if (HAL_TIM_Base_Init(&htim3) != HAL_OK)
  {
    Error_Handler();
  }
  sClockSourceConfig.ClockSource = TIM_CLOCKSOURCE_INTERNAL;
  if (HAL_TIM_ConfigClockSource(&htim3, &sClockSourceConfig) != HAL_OK)
  {
    Error_Handler();
  }
  sMasterConfig.MasterOutputTrigger = TIM_TRGO_RESET;
  sMasterConfig.MasterSlaveMode = TIM_MASTERSLAVEMODE_DISABLE;
  if (HAL_TIMEx_MasterConfigSynchronization(&htim3, &sMasterConfig) != HAL_OK)
  {
    Error_Handler();
  }

}

static void MX_USART1_UART_Init(void)
{

  huart1.Instance = USART1;
  huart1.Init.BaudRate = 9600;
  /* Standard Modbus RTU 8E1: WordLength 9B = 8 data + 1 even parity */
  huart1.Init.WordLength = UART_WORDLENGTH_9B;
  huart1.Init.StopBits = UART_STOPBITS_1;
  huart1.Init.Parity = UART_PARITY_EVEN;
  huart1.Init.Mode = UART_MODE_TX_RX;
  huart1.Init.HwFlowCtl = UART_HWCONTROL_NONE;
  huart1.Init.OverSampling = UART_OVERSAMPLING_16;
  huart1.Init.OneBitSampling = UART_ONE_BIT_SAMPLE_DISABLE;
  huart1.Init.ClockPrescaler = UART_PRESCALER_DIV1;
  huart1.AdvancedInit.AdvFeatureInit = UART_ADVFEATURE_NO_INIT;
  if (HAL_RS485Ex_Init(&huart1, UART_DE_POLARITY_HIGH, 0, 0) != HAL_OK)
  {
    Error_Handler();
  }
  if (HAL_UARTEx_SetTxFifoThreshold(&huart1, UART_TXFIFO_THRESHOLD_1_8) != HAL_OK)
  {
    Error_Handler();
  }
  if (HAL_UARTEx_SetRxFifoThreshold(&huart1, UART_RXFIFO_THRESHOLD_1_8) != HAL_OK)
  {
    Error_Handler();
  }
  if (HAL_UARTEx_DisableFifoMode(&huart1) != HAL_OK)
  {
    Error_Handler();
  }

}

static void MX_USART2_UART_Init(void)
{

  huart2.Instance = USART2;
  huart2.Init.BaudRate = 115200;
  huart2.Init.WordLength = UART_WORDLENGTH_8B;
  huart2.Init.StopBits = UART_STOPBITS_1;
  huart2.Init.Parity = UART_PARITY_NONE;
  huart2.Init.Mode = UART_MODE_RX;   /* RX only (PA3); PA4 is reserved for LCD /RST */
  huart2.Init.HwFlowCtl = UART_HWCONTROL_NONE;
  huart2.Init.OverSampling = UART_OVERSAMPLING_16;
  huart2.Init.OneBitSampling = UART_ONE_BIT_SAMPLE_DISABLE;
  huart2.Init.ClockPrescaler = UART_PRESCALER_DIV1;
  huart2.AdvancedInit.AdvFeatureInit = UART_ADVFEATURE_NO_INIT;
  if (HAL_UART_Init(&huart2) != HAL_OK)
  {
    Error_Handler();
  }
  /* USER CODE BEGIN USART2_Init 2 */
  USART2->CR1 |= USART_CR1_RXNEIE_RXFNEIE;   /* RX into the ring via interrupt — see app_usart2_isr() */
  HAL_NVIC_SetPriority(USART2_IRQn, 2, 0);   /* lower than Modbus (USART1 = 1) */
  HAL_NVIC_EnableIRQ(USART2_IRQn);
  /* USER CODE END USART2_Init 2 */

}

static void MX_WWDG_Init(void)
{

  hwwdg.Instance = WWDG;
  hwwdg.Init.Prescaler = WWDG_PRESCALER_8;
  hwwdg.Init.Window = 80;
  hwwdg.Init.Counter = 127;
  hwwdg.Init.EWIMode = WWDG_EWI_DISABLE;
  if (HAL_WWDG_Init(&hwwdg) != HAL_OK)
  {
    Error_Handler();
  }

}

static void MX_GPIO_Init(void)
{
  GPIO_InitTypeDef GPIO_InitStruct = {0};

  /* GPIO Ports Clock Enable */
  __HAL_RCC_GPIOB_CLK_ENABLE();
  __HAL_RCC_GPIOC_CLK_ENABLE();
  __HAL_RCC_GPIOA_CLK_ENABLE();

  /*Configure GPIO pin Output Level */
  HAL_GPIO_WritePin(GPIOC, IN1_IC3_Pin|IN1_IC2_Pin, GPIO_PIN_RESET);

  /*Configure GPIO pin Output Level */
  HAL_GPIO_WritePin(GPIOA, D0_Pin|IN1_IC4_Pin|L_GREEN4_Pin|L_RED4_Pin
                          |IN1_IC1_Pin, GPIO_PIN_RESET);

  /*Configure GPIO pin Output Level */
  HAL_GPIO_WritePin(GPIOB, L_GREEN3_Pin|L_RED3_Pin|L_GREEN2_Pin|L_RED2_Pin
                          |L_GREEN1_Pin|L_RED1_Pin, GPIO_PIN_RESET);

  /*Configure GPIO pins : IN1_IC3_Pin IN1_IC2_Pin */
  GPIO_InitStruct.Pin = IN1_IC3_Pin|IN1_IC2_Pin;
  GPIO_InitStruct.Mode = GPIO_MODE_OUTPUT_PP;
  GPIO_InitStruct.Pull = GPIO_NOPULL;
  GPIO_InitStruct.Speed = GPIO_SPEED_FREQ_LOW;
  HAL_GPIO_Init(GPIOC, &GPIO_InitStruct);

  /*Configure GPIO pins : D0_Pin IN1_IC4_Pin L_GREEN4_Pin L_RED4_Pin
                           IN1_IC1_Pin */
  GPIO_InitStruct.Pin = D0_Pin|IN1_IC4_Pin|L_GREEN4_Pin|L_RED4_Pin
                          |IN1_IC1_Pin;
  GPIO_InitStruct.Mode = GPIO_MODE_OUTPUT_PP;
  GPIO_InitStruct.Pull = GPIO_NOPULL;
  GPIO_InitStruct.Speed = GPIO_SPEED_FREQ_LOW;
  HAL_GPIO_Init(GPIOA, &GPIO_InitStruct);

  /*Configure GPIO pins : L_GREEN3_Pin L_RED3_Pin L_GREEN2_Pin L_RED2_Pin
                           L_GREEN1_Pin L_RED1_Pin */
  GPIO_InitStruct.Pin = L_GREEN3_Pin|L_RED3_Pin|L_GREEN2_Pin|L_RED2_Pin
                          |L_GREEN1_Pin|L_RED1_Pin;
  GPIO_InitStruct.Mode = GPIO_MODE_OUTPUT_PP;
  GPIO_InitStruct.Pull = GPIO_NOPULL;
  GPIO_InitStruct.Speed = GPIO_SPEED_FREQ_LOW;
  HAL_GPIO_Init(GPIOB, &GPIO_InitStruct);

  /* USER CODE BEGIN MX_GPIO_Init_2 */
  /* Active-low LEDs (common anode): the generated code above writes RESET = all on.
   * Turn everything off right away. When regenerating with CubeMX: set the GPIO output level of
   * the L_GREENx/L_REDx pins to High in the .ioc, then remove this block. */
  HAL_GPIO_WritePin(GPIOA, L_GREEN4_Pin | L_RED4_Pin, GPIO_PIN_SET);
  HAL_GPIO_WritePin(GPIOB, L_GREEN3_Pin | L_RED3_Pin | L_GREEN2_Pin | L_RED2_Pin
                          | L_GREEN1_Pin | L_RED1_Pin, GPIO_PIN_SET);
  /* USER CODE END MX_GPIO_Init_2 */
}

void Error_Handler(void)
{
  __disable_irq();
  while (1)
  {
  }
}
